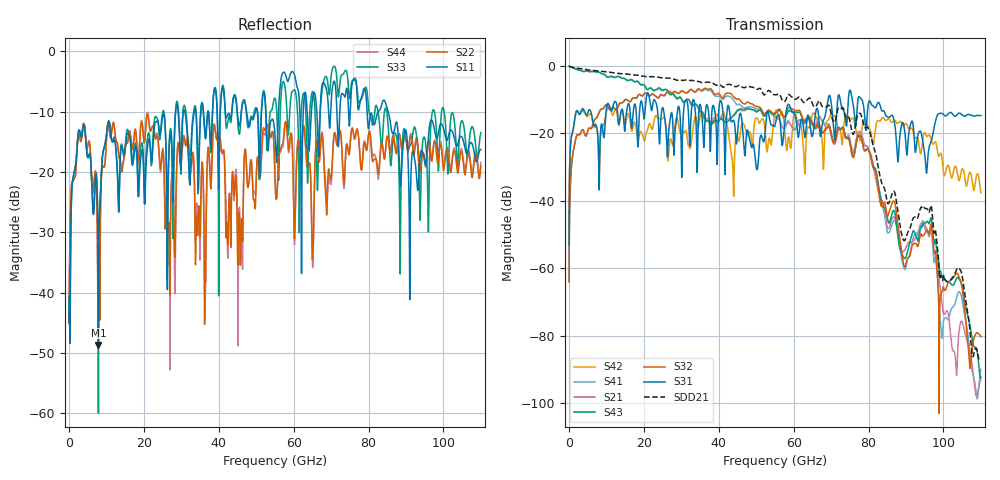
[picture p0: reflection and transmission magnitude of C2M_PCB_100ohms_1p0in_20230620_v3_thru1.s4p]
! Info: Touchstone file created by Circ.  Input file=C2M_PCB_100ohms_1p0in_20230620_v3.circ
# Hz S RI R 50
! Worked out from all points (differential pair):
!   11000 points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, 10 MHz to 110 GHz, reference 50 ohm
!   strongest paths, dB at 10 MHz, 27.51 GHz, 55.01 GHz, 82.51 GHz, 110 GHz:
!     S31: -53.1, -14.2, -17.6, -10.8, -14.7
!     S32: -64.0, -8.0, -13.8, -35.7, -80.3
!     S43: 0.0, -8.4, -14.2, -34.3, -92.3
!     S21: 0.0, -8.1, -14.9, -36.8, -93.1
!     S41: -64.0, -8.3, -15.1, -35.5, -89.9
!     S42: -53.0, -22.9, -13.9, -16.2, -37.6
!   taken as a pair (ports 3,1 in; 4,2 out), SDD21 dB: 0.0, -3.8, -8.5, -29.6, -87.1
!   lowest |S11| = -48.7 dB at 7.84 GHz (marker M1), VSWR 1.01, Z = 50.3 + j0.171 ohm
!   |S11| at or under -10 dB: start of sweep to 28.45 GHz; 52.56 GHz to 55.95 GHz (3.394 GHz wide, 6.26 % of centre); 85.23 GHz to end of sweep (the widest 3 of 20)
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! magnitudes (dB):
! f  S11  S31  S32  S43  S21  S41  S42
! 10 MHz  -45.1  -53.1  -64.0  0.0  0.0  -64.0  -53.0
! 2.67 GHz  -13.0  -14.3  -20.5  -1.2  -1.2  -20.4  -13.8
! 7.84 GHz  -48.7  -24.4  -14.2  -1.8  -1.8  -14.2  -25.5
! 11.75 GHz  -15.0  -11.7  -12.3  -3.3  -3.3  -12.3  -14.5
! 26.67 GHz  -17.1  -18.6  -7.5  -8.1  -7.9  -7.5  -24.5
! 77.67 GHz  -8.6  -9.3  -20.5  -20.7  -19.4  -19.5  -22.0
! 110 GHz  -16.3  -14.7  -80.3  -92.3  -93.1  -89.9  -37.6
